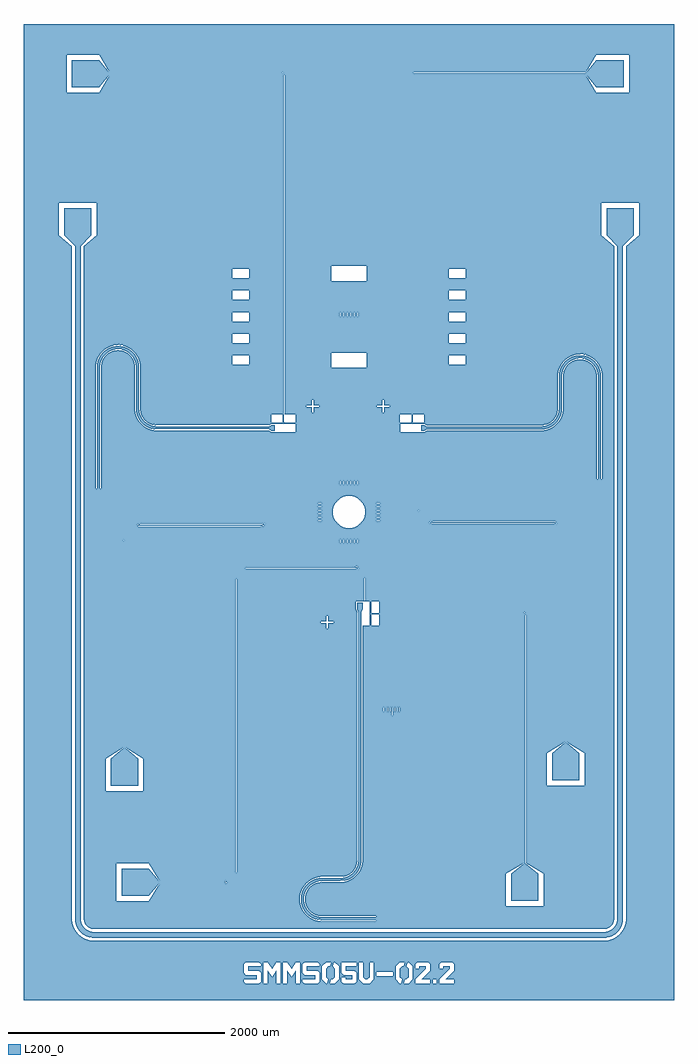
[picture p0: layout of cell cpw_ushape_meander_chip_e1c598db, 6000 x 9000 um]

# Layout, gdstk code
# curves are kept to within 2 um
from math import pi, radians
import gdstk
lib = gdstk.Library(unit=1e-6, precision=1e-09)
def R(c, l, rs):  # rectangles x0, y0, x1, y1
    for r in rs: c.add(gdstk.rectangle(r[:2], r[2:], *l))
def P(c, l, *ps):  # polygons
    for p in ps: c.add(gdstk.Polygon(p, *l))
L200_0 = (200, 0)

rectangle = lib.new_cell('rectangle')

rectangle002 = lib.new_cell('rectangle002')

rectangle003 = lib.new_cell('rectangle003')

union = lib.new_cell('union')

union004 = lib.new_cell('union004')

mergemon_grounded_base = lib.new_cell('mergemon_grounded_base')
mergemon_grounded_base.add(gdstk.Reference(union, (0,0)))
mergemon_grounded_base.add(gdstk.Reference(union004, (0,0)))

rectangle005 = lib.new_cell('rectangle005')

cross = lib.new_cell('cross')
cross.add(gdstk.Reference(rectangle005, (260,-325), rotation=pi/2))
cross.add(gdstk.Reference(rectangle005, (190,-375)))

rectangle007 = lib.new_cell('rectangle007')

cross006 = lib.new_cell('cross006')
cross006.add(gdstk.Reference(rectangle007, (250,-322.5), rotation=pi/2))
cross006.add(gdstk.Reference(rectangle007, (192.5,-365)))

union008 = lib.new_cell('union008')

alignmentmarkmm = lib.new_cell('AlignmentMarkMM')
alignmentmarkmm.add(gdstk.Reference(mergemon_grounded_base, (0,0)))
alignmentmarkmm.add(gdstk.Reference(cross, (0,0)))
alignmentmarkmm.add(gdstk.Reference(cross006, (0,0)))
alignmentmarkmm.add(gdstk.Reference(union008, (0,0)))

union011 = lib.new_cell('union011')

union012 = lib.new_cell('union012')

mergemon_grounded_base01 = lib.new_cell('mergemon_grounded_base010')
mergemon_grounded_base01.add(gdstk.Reference(union011, (0,0)))
mergemon_grounded_base01.add(gdstk.Reference(union012, (0,0)))

rectangle014 = lib.new_cell('rectangle014')

cross013 = lib.new_cell('cross013')
cross013.add(gdstk.Reference(rectangle014, (260,305), rotation=pi/2))
cross013.add(gdstk.Reference(rectangle014, (190,255)))

rectangle016 = lib.new_cell('rectangle016')

cross015 = lib.new_cell('cross015')
cross015.add(gdstk.Reference(rectangle016, (250,307.5), rotation=pi/2))
cross015.add(gdstk.Reference(rectangle016, (192.5,265)))

union017 = lib.new_cell('union017')

alignmentmarkmm009 = lib.new_cell('AlignmentMarkMM009')
alignmentmarkmm009.add(gdstk.Reference(mergemon_grounded_base01, (0,0)))
alignmentmarkmm009.add(gdstk.Reference(cross013, (0,0)))
alignmentmarkmm009.add(gdstk.Reference(cross015, (0,0)))
alignmentmarkmm009.add(gdstk.Reference(union017, (0,0)))

union020 = lib.new_cell('union020')

union021 = lib.new_cell('union021')

c_mergemon_grounded_base01 = lib.new_cell('mergemon_grounded_base019')
c_mergemon_grounded_base01.add(gdstk.Reference(union020, (0,0)))
c_mergemon_grounded_base01.add(gdstk.Reference(union021, (0,0)))

rectangle023 = lib.new_cell('rectangle023')

cross022 = lib.new_cell('cross022')
cross022.add(gdstk.Reference(rectangle023, (-90,350), rotation=pi/2))
cross022.add(gdstk.Reference(rectangle023, (-160,300)))

rectangle025 = lib.new_cell('rectangle025')

cross024 = lib.new_cell('cross024')
cross024.add(gdstk.Reference(rectangle025, (-100,352.5), rotation=pi/2))
cross024.add(gdstk.Reference(rectangle025, (-157.5,310)))

union026 = lib.new_cell('union026')

alignmentmarkmm018 = lib.new_cell('AlignmentMarkMM018')
alignmentmarkmm018.add(gdstk.Reference(c_mergemon_grounded_base01, (0,0)))
alignmentmarkmm018.add(gdstk.Reference(cross022, (0,0)))
alignmentmarkmm018.add(gdstk.Reference(cross024, (0,0)))
alignmentmarkmm018.add(gdstk.Reference(union026, (0,0)))

circle = lib.new_cell('circle')

circle027 = lib.new_cell('circle027')

union028 = lib.new_cell('union028')

global_alignment_marks = lib.new_cell('global_alignment_marks')
global_alignment_marks.add(gdstk.Reference(circle, (0,0)))
global_alignment_marks.add(gdstk.Reference(circle027, (0,0)))
global_alignment_marks.add(gdstk.Reference(union028, (-84,250)))
global_alignment_marks.add(gdstk.Reference(union028, (84,-250), rotation=pi))
global_alignment_marks.add(gdstk.Reference(union028, (-250,-84), rotation=pi/2))
global_alignment_marks.add(gdstk.Reference(union028, (250,84), rotation=3*pi/2))
global_alignment_marks.add(gdstk.Reference(union028, (-84,1800)))
global_alignment_marks.add(gdstk.Reference(union028, (484,-1800), rotation=pi))

union029 = lib.new_cell('union029')

union030 = lib.new_cell('union030')

union031 = lib.new_cell('union031')

rectangle032 = lib.new_cell('rectangle032')

union033 = lib.new_cell('union033')

dc_jj_test_device = lib.new_cell('dc_jj_test_device')
dc_jj_test_device.add(gdstk.Reference(union030, (-33.556,0), rotation=radians(45)))
dc_jj_test_device.add(gdstk.Reference(union031, (-33.556,0), rotation=radians(45)))
dc_jj_test_device.add(gdstk.Reference(rectangle032, (0,0)))
dc_jj_test_device.add(gdstk.Reference(union033, (0,0)))

union035 = lib.new_cell('union035')

union036 = lib.new_cell('union036')

rectangle037 = lib.new_cell('rectangle037')

union038 = lib.new_cell('union038')

dc_jj_test_device034 = lib.new_cell('dc_jj_test_device034')
dc_jj_test_device034.add(gdstk.Reference(union035, (-33.556,0), rotation=radians(45)))
dc_jj_test_device034.add(gdstk.Reference(union036, (-33.556,0), rotation=radians(45)))
dc_jj_test_device034.add(gdstk.Reference(rectangle037, (0,0)))
dc_jj_test_device034.add(gdstk.Reference(union038, (0,0)))

union040 = lib.new_cell('union040')

union041 = lib.new_cell('union041')

rectangle042 = lib.new_cell('rectangle042')

union043 = lib.new_cell('union043')

dc_jj_test_device039 = lib.new_cell('dc_jj_test_device039')
dc_jj_test_device039.add(gdstk.Reference(union040, (-33.556,0), rotation=radians(45)))
dc_jj_test_device039.add(gdstk.Reference(union041, (-33.556,0), rotation=radians(45)))
dc_jj_test_device039.add(gdstk.Reference(rectangle042, (0,0)))
dc_jj_test_device039.add(gdstk.Reference(union043, (0,0)))

union045 = lib.new_cell('union045')

union046 = lib.new_cell('union046')

rectangle047 = lib.new_cell('rectangle047')

union048 = lib.new_cell('union048')

dc_jj_test_device044 = lib.new_cell('dc_jj_test_device044')
dc_jj_test_device044.add(gdstk.Reference(union045, (-33.556,0), rotation=radians(45)))
dc_jj_test_device044.add(gdstk.Reference(union046, (-33.556,0), rotation=radians(45)))
dc_jj_test_device044.add(gdstk.Reference(rectangle047, (0,0)))
dc_jj_test_device044.add(gdstk.Reference(union048, (0,0)))

union050 = lib.new_cell('union050')

union051 = lib.new_cell('union051')

rectangle052 = lib.new_cell('rectangle052')

union053 = lib.new_cell('union053')

dc_jj_test_device049 = lib.new_cell('dc_jj_test_device049')
dc_jj_test_device049.add(gdstk.Reference(union050, (-33.556,0), rotation=radians(45)))
dc_jj_test_device049.add(gdstk.Reference(union051, (-33.556,0), rotation=radians(45)))
dc_jj_test_device049.add(gdstk.Reference(rectangle052, (0,0)))
dc_jj_test_device049.add(gdstk.Reference(union053, (0,0)))

union055 = lib.new_cell('union055')

union056 = lib.new_cell('union056')

rectangle057 = lib.new_cell('rectangle057')

union058 = lib.new_cell('union058')

dc_jj_test_device054 = lib.new_cell('dc_jj_test_device054')
dc_jj_test_device054.add(gdstk.Reference(union055, (-33.556,0), rotation=radians(45)))
dc_jj_test_device054.add(gdstk.Reference(union056, (-33.556,0), rotation=radians(45)))
dc_jj_test_device054.add(gdstk.Reference(rectangle057, (0,0)))
dc_jj_test_device054.add(gdstk.Reference(union058, (0,0)))

union060 = lib.new_cell('union060')

union061 = lib.new_cell('union061')

rectangle062 = lib.new_cell('rectangle062')

union063 = lib.new_cell('union063')

dc_jj_test_device059 = lib.new_cell('dc_jj_test_device059')
dc_jj_test_device059.add(gdstk.Reference(union060, (-33.556,0), rotation=radians(45)))
dc_jj_test_device059.add(gdstk.Reference(union061, (-33.556,0), rotation=radians(45)))
dc_jj_test_device059.add(gdstk.Reference(rectangle062, (0,0)))
dc_jj_test_device059.add(gdstk.Reference(union063, (0,0)))

union065 = lib.new_cell('union065')

union066 = lib.new_cell('union066')

rectangle067 = lib.new_cell('rectangle067')

union068 = lib.new_cell('union068')

dc_jj_test_device064 = lib.new_cell('dc_jj_test_device064')
dc_jj_test_device064.add(gdstk.Reference(union065, (-33.556,0), rotation=radians(45)))
dc_jj_test_device064.add(gdstk.Reference(union066, (-33.556,0), rotation=radians(45)))
dc_jj_test_device064.add(gdstk.Reference(rectangle067, (0,0)))
dc_jj_test_device064.add(gdstk.Reference(union068, (0,0)))

union070 = lib.new_cell('union070')

union071 = lib.new_cell('union071')

rectangle072 = lib.new_cell('rectangle072')

union073 = lib.new_cell('union073')

dc_jj_test_device069 = lib.new_cell('dc_jj_test_device069')
dc_jj_test_device069.add(gdstk.Reference(union070, (-33.556,0), rotation=radians(45)))
dc_jj_test_device069.add(gdstk.Reference(union071, (-33.556,0), rotation=radians(45)))
dc_jj_test_device069.add(gdstk.Reference(rectangle072, (0,0)))
dc_jj_test_device069.add(gdstk.Reference(union073, (0,0)))

union075 = lib.new_cell('union075')

union076 = lib.new_cell('union076')

rectangle077 = lib.new_cell('rectangle077')

union078 = lib.new_cell('union078')

dc_jj_test_device074 = lib.new_cell('dc_jj_test_device074')
dc_jj_test_device074.add(gdstk.Reference(union075, (-33.556,0), rotation=radians(45)))
dc_jj_test_device074.add(gdstk.Reference(union076, (-33.556,0), rotation=radians(45)))
dc_jj_test_device074.add(gdstk.Reference(rectangle077, (0,0)))
dc_jj_test_device074.add(gdstk.Reference(union078, (0,0)))

union079 = lib.new_cell('union079')

rectangle080 = lib.new_cell('rectangle080')

multijunction_teststruct = lib.new_cell('multijunction_teststructure')
multijunction_teststruct.add(gdstk.Reference(union079, (-34.16,54.59)))
multijunction_teststruct.add(gdstk.Reference(rectangle080, (0,0)))

union082 = lib.new_cell('union082')

rectangle083 = lib.new_cell('rectangle083')

c_multijunction_teststruct = lib.new_cell('multijunction_teststructure081')
c_multijunction_teststruct.add(gdstk.Reference(union082, (-34.16,54.59)))
c_multijunction_teststruct.add(gdstk.Reference(rectangle083, (0,0)))

cpw_ushape_meander_chip_ = lib.new_cell('cpw_ushape_meander_chip_e1c598db')
R(cpw_ushape_meander_chip_, L200_0, [(-3000,0,-2555.89,2130), (1078.103,0,1770.234,749.362), (1078.103,762.5,1770.234,787.5), (592.245,1443.556,1078.103,1455.638), (1078.103,1455.638,1770.234,2130), (-594.755,1880,-4,2130), (592.245,2043.556,1078.103,2130), (-594.755,2130,-163,2270)])
P(cpw_ushape_meander_chip_, L200_0, [(-2097.01,-3538.938),(-2097.01,-3288.938),(-1847.01,-3288.938),(-1747.01,-3408.938),(-1138.651,-3408.57),(-1112.207,-3402.334),(-1088.988,-3389.161),(-1070.069,-3369.661),(-1057.523,-3345.83),(-1052.01,-3314.177),(-1052.005,-612.881),(-1046.69,-580.939),(-1031.582,-551.708),(-1015.041,-533.958),(-995.102,-520.599),(-972.651,-512.117),(-949.124,-508.959),(55.104,-508.959),(86.741,-514.51),(115.22,-529.366),(130.345,-542.936),(142.847,-559.618),(151.808,-578.44),(156.795,-598.139),(157.99,-813.938),(147.99,-813.938),(147.979,-612.503),(144.239,-587.507),(133.916,-564.178),(117.757,-544.438),(96.715,-529.598),(73.162,-521.104),(53.229,-518.938),(-949.879,-518.981),(-971.136,-522.052),(-991.159,-529.82),(-1009.107,-542.042),(-1023.528,-557.635),(-1037.121,-583.855),(-1042.005,-612.981),(-1042.01,-3314.202),(-1048.192,-3349.436),(-1061.815,-3375.313),(-1082.463,-3396.755),(-1107.807,-3411.345),(-1136.455,-3418.406),(-1747.01,-3418.938),(-1847.01,-3538.938)],
  [(-2195,-2524.2),(-2195,-2274.2),(-2075,-2174.2),(-2074.997,-273.16),(-2071.155,-239.89),(-2060.257,-208.223),(-2038.57,-174.369),(-2008.691,-147.082),(-1972.769,-128.459),(-1933.25,-119.767),(-817.08,-119.171),(-776.166,-112.416),(-739.24,-94.628),(-714.754,-73.941),(-695.163,-47.961),(-681.932,-18.498),(-675.573,12.92),(-675,725.8),(-665,725.8),(-665.545,12.809),(-672.252,-21.057),(-686.289,-52.599),(-706.782,-80.062),(-733.023,-102.497),(-773.143,-121.948),(-816.879,-129.169),(-1932.153,-129.71),(-1969.135,-137.779),(-2002.769,-155.144),(-2030.92,-180.81),(-2051.312,-212.7),(-2061.457,-242.341),(-2064.997,-273.227),(-2065,-2174.2),(-1945,-2274.2),(-1945,-2524.2)],
  [(1875,-2474.2),(1875,-2224.2),(1995,-2124.2),(1995,-223.958),(1987.03,-181.196),(1970.642,-151.725),(1946.702,-127.977),(1916.874,-111.743),(1884.174,-104.551),(772.382,-104.174),(735.575,-98.078),(702.233,-81.926),(680.162,-63.115),(662.548,-39.427),(650.886,-12.875),(645.341,16.383),(645,725.8),(655,725.8),(655.351,16.626),(660.433,-9.9),(671.319,-34.618),(687.623,-56.451),(708.03,-73.775),(738.838,-88.622),(772.584,-94.176),(1885.722,-94.643),(1920.854,-102.555),(1952.887,-120.115),(1978.77,-145.894),(1996.365,-177.612),(2002.727,-199.995),(2004.998,-223.415),(2005,-2124.2),(2125,-2224.2),(2125,-2474.2)],
  [(-2350.294,-3925),(-2383.565,-3921.751),(-2415.338,-3912.345),(-2445.016,-3896.959),(-2471.015,-3876.414),(-2492.675,-3851.336),(-2509.462,-3822.09),(-2520.328,-3790.167),(-2524.858,-3757.047),(-2525,2450),(-2625,2550),(-2625,2800),(-2375,2800),(-2375,2550),(-2475,2450),(-2475,-3750.21),(-2472.639,-3774.181),(-2465.565,-3797.642),(-2454.05,-3819.272),(-2438.537,-3838.24),(-2419.621,-3853.817),(-2398.223,-3865.324),(-2374.798,-3872.516),(-2350.21,-3875),(2351.259,-3874.994),(2379.711,-3871.418),(2406.412,-3861.547),(2430.509,-3845.621),(2450.182,-3824.757),(2468.567,-3789.583),(2475,-3750.21),(2475,2450),(2375,2550),(2375,2800),(2625,2800),(2625,2550),(2525,2450),(2524.998,-3750.881),(2522.639,-3778.652),(2516.087,-3805.138),(2505.227,-3830.806),(2490.78,-3853.952),(2463.385,-3883.3),(2430.023,-3905.632),(2392.735,-3919.702),(2352.643,-3924.98)],
  [(-3000,-4500),(-3000,-4150),(-950,-4150),(-970,-4170),(-970,-4250),(-950,-4270),(-850,-4270),(-850,-4310),(-970,-4310),(-970,-4330),(-950,-4350),(-830,-4350),(-810,-4330),(-810,-4250),(-830,-4230),(-930,-4230),(-930,-4190),(-810,-4190),(-810,-4170),(-830,-4150),(-670,-4150),(-710,-4210),(-750,-4150),(-790,-4150),(-790,-4350),(-750,-4350),(-750,-4230),(-710,-4290),(-670,-4230),(-670,-4350),(-630,-4350),(-630,-4150),(-490,-4150),(-530,-4210),(-570,-4150),(-610,-4150),(-610,-4350),(-570,-4350),(-570,-4230),(-530,-4290),(-490,-4230),(-490,-4350),(-450,-4350),(-450,-4150),(-410,-4150),(-430,-4170),(-430,-4250),(-410,-4270),(-310,-4270),(-310,-4310),(-430,-4310),(-430,-4330),(-410,-4350),(-290,-4350),(-270,-4330),(-270,-4250),(-290,-4230),(-390,-4230),(-390,-4190),(-270,-4190),(-270,-4170),(-290,-4150),(-210,-4150),(-250,-4190),(-250,-4310),(-210,-4350),(-200,-4350),(-190,-4310),(-210,-4290),(-210,-4210),(-190,-4190),(-174,-4190),(-164,-4150),(-140,-4150),(-150,-4190),(-130,-4210),(-130,-4290),(-150,-4310),(-166,-4310),(-176,-4350),(-130,-4350),(-90,-4310),(-90,-4190),(-130,-4150),(-70,-4150),(-70,-4250),(-50,-4270),(30,-4270),(30,-4310),(-30,-4310),(-30,-4290),(-70,-4290),(-70,-4330),(-50,-4350),(50,-4350),(70,-4330),(70,-4250),(50,-4230),(-30,-4230),(-30,-4190),(70,-4190),(70,-4150),(190,-4150),(190,-4290),(170,-4310),(150,-4310),(130,-4290),(130,-4150),(90,-4150),(90,-4310),(130,-4350),(190,-4350),(230,-4310),(230,-4240),(250,-4240),(250,-4280),(410,-4280),(410,-4240),(230,-4240),(230,-4150),(470,-4150),(430,-4190),(430,-4310),(470,-4350),(480,-4350),(490,-4310),(470,-4290),(470,-4210),(490,-4190),(506,-4190),(516,-4150),(540,-4150),(530,-4190),(550,-4210),(550,-4290),(530,-4310),(514,-4310),(504,-4350),(550,-4350),(590,-4310),(590,-4190),(550,-4150),(630,-4150),(610,-4170),(610,-4210),(650,-4210),(650,-4190),(710,-4190),(710,-4210),(610,-4310),(610,-4350),(750,-4350),(750,-4310),(770,-4310),(770,-4350),(810,-4350),(810,-4310),(670,-4310),(750,-4230),(750,-4170),(730,-4150),(850,-4150),(830,-4170),(830,-4210),(870,-4210),(870,-4190),(930,-4190),(930,-4210),(830,-4310),(830,-4350),(970,-4350),(970,-4310),(890,-4310),(970,-4230),(970,-4170),(950,-4150),(-3000,-4150),(-3000,0),(-2555.89,0),(-2555.629,-3760.361),(-2549.99,-3798.937),(-2537.18,-3835.758),(-2517.458,-3869.786),(-2491.876,-3899.205),(-2461.207,-3923.274),(-2426.551,-3941.13),(-2389.15,-3952.134),(-2350.346,-3955.89),(2351.728,-3955.883),(2383.709,-3953.112),(2415.199,-3945.294),(2445.069,-3932.627),(2472.579,-3915.424),(2507.053,-3883.136),(2532.945,-3844.456),(2549.487,-3800.948),(2555.841,-3754.491),(2555.89,0),(3000,0),(3000,-4500)],
  [(0,-3844.11),(0,-3775.638),(250,-3775.638),(250,-3762.5),(0,-3762.5),(0,-3737.5),(250,-3737.5),(250,-3724.362),(0,-3724.362),(0,-3399.438),(48.502,-3370.544),(87.639,-3329.097),(113.702,-3279.041),(125.195,-3223.497),(125.638,-1800),(316,-1800),(316,-1840),(324,-1840),(324,-1800),(332,-1800),(332,-1840),(340,-1840),(340,-1800),(348,-1800),(348,-1840),(356,-1840),(356,-1800),(364,-1800),(364,-1840),(372,-1840),(372,-1800),(380,-1800),(380,-1840),(388,-1840),(388,-1800),(396,-1800),(396,-1880),(404,-1880),(404,-1800),(412,-1800),(412,-1840),(420,-1840),(420,-1800),(428,-1800),(428,-1840),(436,-1840),(436,-1800),(444,-1800),(444,-1840),(452,-1840),(452,-1800),(460,-1800),(460,-1840),(468,-1840),(468,-1800),(476,-1800),(476,-1840),(484,-1840),(484,-1800),(125.638,-1800),(125.638,-1049),(193,-1049),(193,-825),(203,-825),(203.014,-925.445),(209.406,-931.975),(1610,-932),(1618.604,-934.338),(1624.841,-940.709),(1627,-949),(1627,-3237),(1747,-3337),(1747,-3587),(1497,-3587),(1497,-3337),(1617,-3237),(1615.96,-945.33),(1610,-942),(209.555,-942.014),(203.014,-948.555),(203,-1049),(279.276,-1049),(279.276,-947.245),(1611.494,-948.08),(1611.755,-3237),(1447,-3337),(1447,-3637),(1797,-3637),(1797,-3337),(1632.245,-3237),(1632.245,-949),(1629.864,-938.985),(1621.664,-930.057),(1610.472,-926.759),(279.276,-926.755),(279.276,-825),(0,-825),(0,-524.183),(58.409,-524.347),(82.695,-529.241),(110.971,-545.424),(131.499,-570.437),(139.326,-589.401),(142.653,-609.872),(142.745,-819.183),(163.235,-819.183),(163.109,-608.667),(159.479,-585.404),(150.864,-563.197),(126.511,-531.787),(93.378,-511.357),(58.235,-503.693),(0,-503.693),(0,-330),(4,-330),(4,-250),(12,-250),(12,-290),(20,-290),(20,-250),(28,-250),(28,-290),(36,-290),(36,-250),(44,-250),(44,-290),(52,-290),(52,-250),(60,-250),(60,-290),(68,-290),(68,-250),(76,-250),(76,-290),(84,-290),(84,-250),(0,-250),(0,-150),(38.823,-144.889),(75,-129.904),(106.066,-106.066),(129.297,-76),(250,-76),(250,-84),(290,-84),(290,-76),(129.297,-76),(137.439,-60),(250,-60),(250,-68),(290,-68),(290,-60),(137.439,-60),(143.38,-44),(250,-44),(250,-52),(290,-52),(290,-44),(143.38,-44),(147.332,-28),(250,-28),(250,-36),(290,-36),(290,-28),(147.332,-28),(149.499,-12),(250,-12),(250,-20),(290,-20),(290,-12),(149.499,-12),(150,0),(250,0),(250,-4),(330,-4),(330,0),(642.238,0),(657.333,-40.877),(684.706,-74.889),(721.738,-98.516),(764.117,-109.007),(1878.466,-109.497),(1901.114,-112.456),(1922.938,-119.938),(1942.638,-131.497),(1959.502,-146.559),(1981.543,-181.569),(1989.74,-222.351),(1989.755,-2124.2),(1825,-2224.2),(1825,-2524.2),(2175,-2524.2),(2175,-2224.2),(2010.245,-2124.2),(2010.241,-223.111),(2005.278,-187.882),(1991.021,-154.699),(1970.633,-128.567),(1944.734,-108.319),(1914.455,-94.838),(1882.078,-89.14),(761.856,-88.2),(728.114,-78.94),(698.558,-59.788),(676.202,-32.575),(663.183,0),(2444.11,0),(2444.109,-3750.474),(2440.217,-3776.789),(2429.372,-3800.565),(2414.506,-3818.525),(2395.957,-3832.126),(2374.662,-3840.821),(2351.579,-3844.097)],
  [(0,-3385.089),(0,-3357.16),(39.265,-3327.61),(68.406,-3287.666),(81.63,-3253.955),(87.3,-3218.19),(87.5,-918.138),(75,-898.138),(75,-838.138),(125,-838.138),(125,-898.138),(112.5,-918.138),(112.27,-3219.412),(102.471,-3271.325),(79.382,-3317.952),(44.24,-3357.04)],
  [(0,-3342.014),(0,-825),(61.862,-825),(61.862,-898.138),(74.362,-918.138),(74.308,-3214.098),(68.49,-3252.17),(53.429,-3287.617),(30.062,-3318.231)],
  [(-2057.644,-250),(-2042.527,-206.979),(-2014.762,-171.479),(-1976.715,-146.47),(-1932.881,-135.04),(-814.891,-134.364),(-781.651,-129.789),(-749.608,-118.157),(-720.751,-100.01),(-696.245,-76),(-290,-76),(-290,-84),(-250,-84),(-250,-76),(-696.245,-76),(-684.66,-60),(-290,-60),(-290,-68),(-250,-68),(-250,-60),(-684.66,-60),(-675.756,-44),(-290,-44),(-290,-52),(-250,-52),(-250,-44),(-675.756,-44),(-669.056,-28),(-290,-28),(-290,-36),(-250,-36),(-250,-28),(-669.056,-28),(-664.277,-12),(-290,-12),(-290,-20),(-250,-20),(-250,-12),(-664.277,-12),(-661.845,0),(-330,0),(-330,-4),(-250,-4),(-250,0),(-150,0),(-147.721,-26.047),(-138.582,-57.403),(-126.509,-80.595),(-106.066,-106.066),(-80.595,-126.509),(-57.403,-138.582),(-26.047,-147.721),(0,-150),(0,-250)],
  [(-2059.755,-503.693),(-2057.644,-250),(-84,-250),(-84,-290),(-76,-290),(-76,-250),(-68,-250),(-68,-290),(-60,-290),(-60,-250),(-52,-250),(-52,-290),(-44,-290),(-44,-250),(-36,-250),(-36,-290),(-28,-290),(-28,-250),(-20,-250),(-20,-290),(-12,-290),(-12,-250),(-4,-250),(-4,-330),(0,-330),(0,-503.693)],
  [(-1036.765,-825),(-1034.67,-594.659),(-1026.379,-572.027),(-1012.519,-552.582),(-993.83,-537.362),(-971.764,-527.664),(-947.236,-524.183),(0,-524.183),(0,-825)],
  [(-2350.158,-3844.11),(-2385.722,-3837.067),(-2415.985,-3817.102),(-2436.33,-3787.468),(-2444.088,-3752.053),(-2444.11,0),(-682.647,0),(-696.913,-40.39),(-723.019,-74.829),(-758.398,-99.646),(-798.972,-112.364),(-1932.894,-114.474),(-1976.069,-124.084),(-2014.971,-145.13),(-2046.638,-176.01),(-2068.456,-213.872),(-2077.166,-242.938),(-2080.242,-273.124),(-2080.245,-2174.2),(-2245,-2274.2),(-2245,-2574.2),(-1895,-2574.2),(-1895,-2274.2),(-2059.755,-2174.2),(-2059.755,-503.693),(-947.288,-503.693),(-968.246,-505.757),(-988.429,-511.769),(-1007.333,-521.66),(-1023.579,-534.621),(-1047.543,-568.692),(-1054.312,-588.634),(-1057.166,-609.499),(-1057.255,-3314.164),(-1063.412,-3346.609),(-1075.665,-3368.398),(-1093.452,-3385.962),(-1115.394,-3397.94),(-1139.788,-3403.402),(-1747.01,-3403.693),(-1847.01,-3238.938),(-2147.01,-3238.938),(-2147.01,-3588.938),(-1847.01,-3588.938),(-1747.01,-3424.183),(-1137.309,-3423.756),(-1109.478,-3417.598),(-1084.155,-3404.51),(-1063.035,-3385.368),(-1047.648,-3361.7),(-1039.582,-3338.702),(-1036.766,-3314.493),(-1036.765,-1298.138),(-300,-1298.138),(-300,-1318.138),(-296,-1318.138),(-296,-1298.138),(-292,-1298.138),(-292,-1318.138),(-288,-1318.138),(-288,-1298.138),(-284,-1298.138),(-284,-1318.138),(-280,-1318.138),(-280,-1298.138),(-276,-1298.138),(-276,-1318.138),(-272,-1318.138),(-272,-1298.138),(-268,-1298.138),(-268,-1318.138),(-264,-1318.138),(-264,-1298.138),(-260,-1298.138),(-260,-1318.138),(-256,-1318.138),(-256,-1298.138),(-252,-1298.138),(-252,-1318.138),(-248,-1318.138),(-248,-1298.138),(-244,-1298.138),(-244,-1318.138),(-240,-1318.138),(-240,-1298.138),(-236,-1298.138),(-236,-1318.138),(-232,-1318.138),(-232,-1298.138),(-228,-1298.138),(-228,-1318.138),(-224,-1318.138),(-224,-1298.138),(-220,-1298.138),(-220,-1318.138),(-216,-1318.138),(-216,-1298.138),(-1036.765,-1298.138),(-1036.765,-1278.138),(-212,-1278.138),(-212,-1318.138),(-208,-1318.138),(-208,-1298.138),(-204,-1298.138),(-204,-1318.138),(-200,-1318.138),(-200,-1298.138),(-196,-1298.138),(-196,-1318.138),(-192,-1318.138),(-192,-1298.138),(-188,-1298.138),(-188,-1318.138),(-184,-1318.138),(-184,-1298.138),(-180,-1298.138),(-180,-1318.138),(-176,-1318.138),(-176,-1298.138),(-172,-1298.138),(-172,-1318.138),(-168,-1318.138),(-168,-1298.138),(-164,-1298.138),(-164,-1318.138),(-160,-1318.138),(-160,-1298.138),(-156,-1298.138),(-156,-1318.138),(-152,-1318.138),(-152,-1298.138),(-148,-1298.138),(-148,-1318.138),(-144,-1318.138),(-144,-1298.138),(-140,-1298.138),(-140,-1318.138),(-136,-1318.138),(-136,-1298.138),(-132,-1298.138),(-132,-1318.138),(-128,-1318.138),(-128,-1298.138),(-124,-1298.138),(-124,-1318.138),(-120,-1318.138),(-120,-1298.138),(-208,-1298.138),(-208,-1278.138),(-1036.765,-1278.138),(-1036.765,-958.138),(-210,-958.138),(-210,-1008.138),(-260,-1008.138),(-260,-1028.138),(-210,-1028.138),(-210,-1078.138),(-190,-1078.138),(-190,-1028.138),(-140,-1028.138),(-140,-1008.138),(-190,-1008.138),(-190,-958.138),(-1036.765,-958.138),(-1036.765,-825),(0,-825),(0,-3342.014),(-28.988,-3355.69),(-60.208,-3363.088),(-266.929,-3365.06),(-305.601,-3372.021),(-342.243,-3386.211),(-389.136,-3418.579),(-425.046,-3462.083),(-447.862,-3513.985),(-455.638,-3569.856),(-448.992,-3621.858),(-429.132,-3670.989),(-397.375,-3713.414),(-356.077,-3746.167),(-313.3,-3765.653),(-266.929,-3774.94),(0,-3775.638),(0,-3844.11)],
  [(-250.269,-3762.5),(-300.753,-3755.689),(-347.682,-3735.875),(-387.584,-3704.637),(-418.213,-3663.599),(-436.874,-3616.199),(-442.449,-3565.564),(-434.547,-3515.239),(-413.721,-3468.749),(-391.838,-3439.853),(-364.925,-3415.57),(-334.18,-3396.881),(-300.234,-3384.17),(-256.184,-3377.599),(-65.505,-3376.872),(-31.769,-3370.406),(0,-3357.16),(0,-3385.089),(-46.808,-3399.617),(-77.579,-3402.485),(-256.784,-3402.637),(-300.892,-3410.418),(-328.669,-3422.123),(-353.53,-3438.327),(-375.143,-3458.664),(-392.704,-3482.297),(-406.781,-3511.041),(-415.249,-3542.631),(-417.438,-3574.562),(-413.36,-3607.012),(-403.338,-3637.408),(-387.45,-3665.728),(-366.565,-3690.287),(-341.165,-3710.518),(-304.003,-3728.556),(-263.089,-3736.988),(0,-3737.5),(0,-3762.5)],
  [(-250.216,-3724.362),(-292.981,-3718.258),(-332.015,-3700.772),(-364.752,-3673.246),(-388.489,-3638.18),(-401.882,-3597.559),(-403.593,-3554.608),(-393.473,-3513.051),(-372.338,-3475.866),(-353.646,-3455.609),(-332.015,-3439.228),(-307.65,-3426.807),(-280.841,-3418.75),(-252.803,-3415.663),(-65.929,-3415.156),(-32.442,-3410.063),(0,-3399.438),(0,-3724.362)],
  [(2555.89,0),(2555.89,2450),(2675,2550),(2675,2850),(592.245,2850),(592.245,4030.138),(2182,4031.893),(2282,3867.138),(2582,3867.138),(2582,4217.138),(-3000,4217.138),(-3000,4500),(3000,4500),(3000,0)],
  [(1770.234,762.5),(1770.234,787.5),(1802.792,790.741),(1834.099,800.25),(1862.961,815.664),(1888.275,836.394),(1909.076,861.65),(1924.66,890.684),(1934.213,921.978),(1937.5,954.766),(1962.5,954.766),(1958.775,917.313),(1947.847,881.333),(1930.282,848.388),(1906.308,819.072),(1877.283,795.167),(1843.915,777.256),(1807.687,766.225)],
  [(1770.234,0),(1770.234,749.362),(1810.259,753.341),(1848.96,765.125),(1884.366,784.098),(1915.205,809.389),(1940.902,840.634),(1959.875,876.04),(1971.659,914.741),(1975.638,954.766),(2284.362,954.766),(2284.362,300),(2297.5,300),(2297.5,954.766),(2322.5,954.766),(2322.5,300),(2335.638,300),(2335.638,954.766),(2444.11,954.766),(2444.11,0)],
  [(2335.638,954.766),(2335.631,1251.723),(2333.259,1281.19),(2324.842,1315.754),(2310.594,1348.351),(2291.119,1377.78),(2266.471,1403.827),(2240.836,1423.212),(2212.756,1438.251),(2182.691,1448.773),(2151.076,1454.555),(1770.234,1455.638),(1770.234,2130),(2444.11,2130),(2444.11,954.766)],
  [(1937.5,954.766),(1938.047,1264.507),(1947.606,1311.553),(1968.656,1354.997),(1992.51,1384.733),(2021.312,1408.881),(2054.258,1426.973),(2090.091,1438.318),(2127.446,1442.483),(2165.426,1439.212),(2202.018,1428.521),(2235.11,1411.271),(2265.212,1387.018),(2289.862,1357.241),(2308.065,1323.138),(2319.037,1286.351),(2322.491,1251.882),(2322.5,954.766),(2297.5,954.766),(2297.39,1256.082),(2293.689,1285.527),(2284.671,1314.289),(2259.475,1356.267),(2223.022,1389.296),(2178.77,1410.243),(2130.351,1417.5),(2081.454,1410.311),(2036.978,1389.296),(2000.525,1356.267),(1975.419,1314.505),(1966.411,1285.984),(1962.61,1256.082),(1962.5,954.766)],
  [(1975.638,954.766),(1975.822,1257.544),(1980.986,1290.282),(1993.219,1321.545),(2009.864,1346.928),(2030.989,1368.425),(2056.078,1385.511),(2084.025,1397.357),(2113.536,1403.482),(2143.889,1403.736),(2173.498,1398.107),(2201.449,1386.831),(2230.492,1367.171),(2253.963,1341.983),(2271.267,1312.22),(2281.585,1279.149),(2284.357,1251.294),(2284.362,954.766)],
  [(1078.103,800.638),(1078.103,1455.638),(2129.856,1455.638),(2100.089,1453.451),(2070.951,1446.978),(2043.578,1436.597),(2017.476,1422.12),(1993.529,1403.827),(1972.883,1382.67),(1955.636,1359.015),(1941.691,1332.625),(1929.8,1296.978),(1924.594,1259.763),(1924.357,953.706),(1922.013,928.172),(1912.94,896.726),(1897.806,868.436),(1876.683,843.436),(1851.315,823.792),(1814.861,807.3),(1774.53,800.704)],
  [(592.245,1843.556),(592.245,2043.556),(921.897,2043.556),(921.897,1956.444),(1078.103,1956.444),(1078.103,1843.556)],
  [(592.245,1643.556),(592.245,1843.556),(921.897,1843.556),(921.897,1756.444),(1078.103,1756.444),(1078.103,1643.556)],
  [(592.245,1455.638),(592.245,1643.556),(921.897,1643.556),(921.897,1556.444),(1078.103,1556.444),(1078.103,1455.638)],
  [(663.183,0),(660.245,25.569),(660.245,731.045),(-4,731.045),(-4,1035),(305,1035),(305,985),(255,985),(255,965),(305,965),(305,915),(325,915),(325,965),(375,965),(375,985),(325,985),(325,1035),(-4,1035),(-4,1330),(163,1330),(163,1470),(-4,1470),(-4,1800),(4,1800),(4,1840),(12,1840),(12,1800),(20,1800),(20,1840),(28,1840),(28,1800),(36,1800),(36,1840),(44,1840),(44,1800),(52,1800),(52,1840),(60,1840),(60,1800),(68,1800),(68,1840),(76,1840),(76,1800),(84,1800),(84,1840),(4,1840),(4,1880),(-4,1880),(-4,2130),(571.755,2130),(571.755,899.414),(470,899.414),(470,823.138),(570.445,823.152),(576.975,829.544),(577,2130),(587,2130),(588.119,826.342),(593.851,823.14),(694,823.138),(694,899.414),(592.245,899.414),(592.245,1443.556),(921.897,1443.556),(921.897,1356.444),(1078.103,1356.444),(1078.103,800.638),(715,800.638),(695,813.138),(470,813.138),(470,807.893),(473,807.893),(473,736.862),(695,736.862),(715,749.362),(1078.103,749.362),(1078.103,0)],
  [(665,750),(665,800),(695,800),(715,787.5),(1078.103,787.5),(1078.103,762.5),(715,762.5),(695,750)],
  [(-594.755,1470),(-594.755,1840),(-84,1840),(-84,1800),(-76,1800),(-76,1840),(-68,1840),(-68,1800),(-60,1800),(-60,1840),(-52,1840),(-52,1800),(-44,1800),(-44,1840),(-36,1840),(-36,1800),(-28,1800),(-28,1840),(-20,1840),(-20,1800),(-12,1800),(-12,1840),(-594.755,1840),(-594.755,1880),(-4,1880),(-4,1470)],
  [(-594.755,1035),(-594.755,1470),(-163,1470),(-163,1330),(-4,1330),(-4,1035)],
  [(-2284.362,731.045),(-2284.361,1335.647),(-2281.503,1364.572),(-2274.597,1389.031),(-2263.556,1412.399),(-2248.908,1433.431),(-2230.819,1451.89),(-2210.088,1466.961),(-2186.949,1478.473),(-2162.635,1485.873),(-2136.79,1489.213),(-2089.406,1483.929),(-2046.076,1464.555),(-2010.544,1432.765),(-1986.487,1391.849),(-1978.837,1366.264),(-1975.718,1339.959),(-1975.622,952.414),(-1970.894,911.084),(-1954.537,864.264),(-1927.446,822.721),(-1891.196,788.872),(-1848.163,764.796),(-1811.948,753.686),(-1774.023,749.401),(-735,749.362),(-715,736.862),(-493,736.862),(-493,813.138),(-717,813.138),(-735,800.638),(-1771.294,800.643),(-1797.89,803.178),(-1823.852,810.336),(-1858.519,828.54),(-1887.21,854.553),(-1908.618,887.082),(-1921.204,923.934),(-1924.357,953.706),(-1924.786,1348.205),(-1934.083,1397.479),(-1955.35,1443.556),(-1078.103,1443.556),(-1078.103,1356.444),(-921.897,1356.444),(-921.897,1443.556),(-1955.35,1443.556),(-1981.329,1477.07),(-2013.184,1504.237),(-2050.411,1524.612),(-2090.181,1536.746),(-2127.846,1540.627),(-2444.11,1540.638),(-2444.11,1643.556),(-1078.103,1643.556),(-1078.103,1556.444),(-921.897,1556.444),(-921.897,1643.556),(-2444.11,1643.556),(-2444.11,1843.556),(-1078.103,1843.556),(-1078.103,1756.444),(-921.897,1756.444),(-921.897,1843.556),(-2444.11,1843.556),(-2444.11,2043.556),(-1078.103,2043.556),(-1078.103,1956.444),(-921.897,1956.444),(-921.897,2043.556),(-2444.11,2043.556),(-2444.11,2130),(-615.245,2130),(-615.245,899.414),(-717,899.414),(-717,823.138),(-616.555,823.152),(-610.025,829.544),(-610,2130),(-600,2130),(-599.111,826.724),(-593.297,823.145),(-493,823.138),(-493,899.414),(-594.755,899.414),(-594.755,1035),(-345,1035),(-345,985),(-395,985),(-395,965),(-345,965),(-345,915),(-325,915),(-325,965),(-275,965),(-275,985),(-325,985),(-325,1035),(-4,1035),(-4,731.045)],
  [(592.245,2130),(592.245,2243.556),(921.897,2243.556),(921.897,2156.444),(1078.103,2156.444),(1078.103,2243.556),(592.245,2243.556),(592.245,2850),(2325,2850),(2325,2550),(2444.11,2450),(2444.11,2130)],
  [(577,2130),(577,4030.138),(581.727,4041.901),(594,4047.138),(2182,4047.138),(2282,4167.138),(2532,4167.138),(2532,3917.138),(2282,3917.138),(2182,4037.138),(594,4037.138),(588.947,4034.981),(587,2130)],
  [(163,2130),(163,2270),(-594.755,2270),(-594.755,4030.138),(-596.729,4039.301),(-602.661,4047.145),(-617,4052.383),(-2205,4052.383),(-2305,4217.138),(2282,4217.138),(2182,4052.383),(594,4052.383),(578.27,4045.868),(571.755,4030.138),(571.755,2130)],
  [(-610,2130),(-611.947,4034.981),(-617,4037.138),(-2205,4037.138),(-2305,3917.138),(-2555,3917.138),(-2555,4167.138),(-2305,4167.138),(-2205,4047.138),(-617,4047.138),(-604.727,4041.901),(-600,4030.138),(-600,2130)],
  [(-3000,2130),(-3000,4217.138),(-2605,4217.138),(-2605,3867.138),(-2305,3867.138),(-2205,4031.893),(-615.635,4031.24),(-615.245,2130),(-2444.11,2130),(-2444.11,2243.556),(-1078.103,2243.556),(-1078.103,2156.444),(-921.897,2156.444),(-921.897,2243.556),(-2444.11,2243.556),(-2444.11,2450),(-2325,2550),(-2325,2850),(-2675,2850),(-2675,2550),(-2555.89,2450),(-2555.89,2130)],
  [(330,0),(330,4),(149.913,4),(148.652,20),(250,20),(250,12),(290,12),(290,20),(148.652,20),(145.58,36),(250,36),(250,28),(290,28),(290,36),(145.58,36),(140.683,52),(250,52),(250,44),(290,44),(290,52),(140.683,52),(133.674,68),(250,68),(250,60),(290,60),(290,68),(133.674,68),(124.234,84),(250,84),(250,76),(290,76),(290,84),(124.234,84),(106.066,106.066),(80.595,126.509),(51.303,140.954),(19.579,148.717),(-659.755,150),(-659.755,290),(-84,290),(-84,250),(-76,250),(-76,290),(-68,290),(-68,250),(-60,250),(-60,290),(-52,290),(-52,250),(-44,250),(-44,290),(-36,290),(-36,250),(-28,250),(-28,290),(-20,290),(-20,250),(-12,250),(-12,290),(-659.755,290),(-659.755,330),(-4,330),(-4,250),(4,250),(4,290),(12,290),(12,250),(20,250),(20,290),(28,290),(28,250),(36,250),(36,290),(44,290),(44,250),(52,250),(52,290),(60,290),(60,250),(68,250),(68,290),(76,290),(76,250),(84,250),(84,290),(4,290),(4,330),(-659.755,330),(-659.755,595),(-435,595),(-435,575),(-431,575),(-431,595),(-427,595),(-427,575),(-423,575),(-423,595),(-419,595),(-419,575),(-415,575),(-415,595),(-411,595),(-411,575),(-407,575),(-407,595),(-403,595),(-403,575),(-399,575),(-399,595),(-395,595),(-395,575),(-391,575),(-391,595),(-387,595),(-387,575),(-383,575),(-383,595),(-379,595),(-379,575),(-375,575),(-375,595),(-371,595),(-371,575),(-367,575),(-367,595),(-363,595),(-363,575),(-359,575),(-359,595),(-355,595),(-355,575),(-351,575),(-351,595),(-659.755,595),(-659.755,615),(-347,615),(-347,575),(-343,575),(-343,595),(-339,595),(-339,575),(-335,575),(-335,595),(-331,595),(-331,575),(-327,575),(-327,595),(-323,595),(-323,575),(-319,575),(-319,595),(-315,595),(-315,575),(-311,575),(-311,595),(-307,595),(-307,575),(-303,575),(-303,595),(-299,595),(-299,575),(-295,575),(-295,595),(-291,595),(-291,575),(-287,575),(-287,595),(-283,595),(-283,575),(-279,575),(-279,595),(-275,595),(-275,575),(-271,575),(-271,595),(-267,595),(-267,575),(-263,575),(-263,595),(-259,595),(-259,575),(-255,575),(-255,595),(215,595),(215,575),(219,575),(219,595),(223,595),(223,575),(227,575),(227,595),(231,595),(231,575),(235,575),(235,595),(239,595),(239,575),(243,575),(243,595),(247,595),(247,575),(251,575),(251,595),(255,595),(255,575),(259,575),(259,595),(263,595),(263,575),(267,575),(267,595),(271,595),(271,575),(275,575),(275,595),(279,595),(279,575),(283,575),(283,595),(287,595),(287,575),(291,575),(291,595),(295,595),(295,575),(299,575),(299,595),(-343,595),(-343,615),(303,615),(303,575),(307,575),(307,595),(311,595),(311,575),(315,575),(315,595),(319,595),(319,575),(323,575),(323,595),(327,595),(327,575),(331,575),(331,595),(335,595),(335,575),(339,575),(339,595),(343,595),(343,575),(347,575),(347,595),(351,595),(351,575),(355,575),(355,595),(359,595),(359,575),(363,575),(363,595),(367,595),(367,575),(371,575),(371,595),(375,595),(375,575),(379,575),(379,595),(383,595),(383,575),(387,575),(387,595),(391,595),(391,575),(395,575),(395,595),(307,595),(307,615),(-659.755,615),(-659.755,731.045),(639.755,731.045),(639.755,25.528),(642.238,0)],
  [(150,0),(149.913,4),(250,4),(250,0)],
  [(-250,0),(-250,4),(-661.245,4),(-659.86,20),(-290,20),(-290,12),(-250,12),(-250,20),(-659.86,20),(-659.755,36),(-290,36),(-290,28),(-250,28),(-250,36),(-659.755,36),(-659.755,52),(-290,52),(-290,44),(-250,44),(-250,52),(-659.755,52),(-659.755,68),(-290,68),(-290,60),(-250,60),(-250,68),(-659.755,68),(-659.755,84),(-290,84),(-290,76),(-250,76),(-250,84),(-659.755,84),(-659.755,150),(0,150),(-26.047,147.721),(-57.403,138.582),(-80.595,126.509),(-106.066,106.066),(-126.509,80.595),(-138.582,57.403),(-147.721,26.047),(-150,0)],
  [(-661.845,0),(-661.245,4),(-330,4),(-330,0)],
  [(-2444.11,0),(-2444.11,1540.638),(-2130.144,1540.638),(-2166.149,1537.436),(-2201.037,1527.979),(-2233.978,1512.414),(-2263.655,1491.28),(-2289.137,1465.24),(-2309.763,1434.861),(-2324.565,1401.57),(-2333.215,1366.474),(-2335.638,1335.287),(-2335.638,215),(-2322.5,215),(-2321.388,1355.665),(-2308.167,1407.89),(-2281.159,1454.194),(-2242.211,1491.413),(-2194.222,1516.471),(-2160.392,1525.086),(-2125.564,1527.449),(-2091.144,1523.538),(-2057.235,1513.218),(-2026.472,1497.291),(-1998.668,1475.742),(-1975.57,1449.925),(-1957.354,1420.146),(-1943.553,1382.894),(-1937.704,1343.871),(-1937.496,953.83),(-1934.572,923.816),(-1922.802,886.387),(-1902.649,852.723),(-1875.035,824.524),(-1841.801,803.669),(-1806.914,791.618),(-1770.702,787.501),(-735,787.5),(-715,800),(-685,800),(-685,750),(-715,750),(-735,762.5),(-1774.573,762.554),(-1812.685,767.292),(-1849.344,779.612),(-1887.968,802.882),(-1920.287,834.708),(-1944.262,873.213),(-1958.507,915.995),(-1962.491,953.117),(-1962.667,1342.485),(-1967.825,1376.9),(-1979.776,1409.088),(-1996.61,1436.309),(-2018.664,1460.143),(-2044.5,1479.035),(-2073.457,1492.668),(-2104.71,1500.58),(-2136.9,1502.358),(-2168.835,1497.936),(-2199.117,1487.575),(-2236.898,1463.954),(-2267.115,1431.207),(-2287.47,1392.093),(-2296.988,1348.089),(-2297.5,215),(-2284.362,215),(-2284.362,731.045),(-680.245,731.045),(-682.131,2.919),(-682.647,0)])
cpw_ushape_meander_chip_.add(gdstk.Reference(rectangle, (0,0)))
cpw_ushape_meander_chip_.add(gdstk.Reference(rectangle002, (0,0)))
cpw_ushape_meander_chip_.add(gdstk.Reference(rectangle003, (0,0)))
cpw_ushape_meander_chip_.add(gdstk.Reference(alignmentmarkmm, (-650,775), rotation=pi/2))
cpw_ushape_meander_chip_.add(gdstk.Reference(alignmentmarkmm009, (630,775), rotation=pi/2))
cpw_ushape_meander_chip_.add(gdstk.Reference(alignmentmarkmm018, (160,-870), rotation=pi/2))
cpw_ushape_meander_chip_.add(gdstk.Reference(global_alignment_marks, (0,0)))
cpw_ushape_meander_chip_.add(gdstk.Reference(union029, (0,0)))
cpw_ushape_meander_chip_.add(gdstk.Reference(dc_jj_test_device, (1000,2200), rotation=pi/2))
cpw_ushape_meander_chip_.add(gdstk.Reference(dc_jj_test_device034, (1000,2000), rotation=pi/2))
cpw_ushape_meander_chip_.add(gdstk.Reference(dc_jj_test_device039, (1000,1800), rotation=pi/2))
cpw_ushape_meander_chip_.add(gdstk.Reference(dc_jj_test_device044, (1000,1600), rotation=pi/2))
cpw_ushape_meander_chip_.add(gdstk.Reference(dc_jj_test_device049, (1000,1400), rotation=pi/2))
cpw_ushape_meander_chip_.add(gdstk.Reference(dc_jj_test_device054, (-1000,2200), rotation=pi/2))
cpw_ushape_meander_chip_.add(gdstk.Reference(dc_jj_test_device059, (-1000,2000), rotation=pi/2))
cpw_ushape_meander_chip_.add(gdstk.Reference(dc_jj_test_device064, (-1000,1800), rotation=pi/2))
cpw_ushape_meander_chip_.add(gdstk.Reference(dc_jj_test_device069, (-1000,1600), rotation=pi/2))
cpw_ushape_meander_chip_.add(gdstk.Reference(dc_jj_test_device074, (-1000,1400), rotation=pi/2))
cpw_ushape_meander_chip_.add(gdstk.Reference(multijunction_teststruct, (0,2200)))
cpw_ushape_meander_chip_.add(gdstk.Reference(c_multijunction_teststruct, (0,1400)))

lib.write_gds('cpw_ushape_meander_chip_e1c598db.gds')
